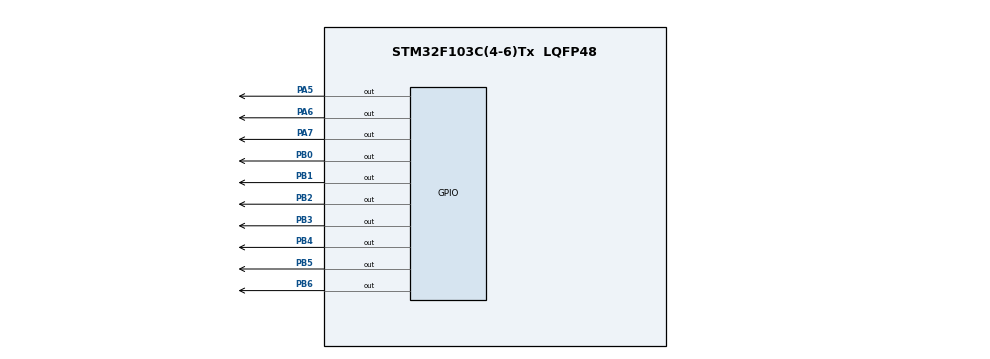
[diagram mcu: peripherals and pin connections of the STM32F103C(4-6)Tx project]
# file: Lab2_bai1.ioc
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Mcu.Family=STM32F1
Mcu.Name=STM32F103C(4-6)Tx
Mcu.Package=LQFP48
NVIC.PriorityGroup=NVIC_PRIORITYGROUP_4
NVIC.TIM2_IRQn=true\:0\:0\:false\:false\:true\:true\:true
PA13.Mode=Serial_Wire
PA13.Signal=SYS_JTMS-SWDIO
PA14.Mode=Serial_Wire
PA14.Signal=SYS_JTCK-SWCLK
PA5.Signal=GPIO_Output
PA6.Signal=GPIO_Output
PA7.Signal=GPIO_Output
PB0.Signal=GPIO_Output
PB1.Signal=GPIO_Output
PB2.Signal=GPIO_Output
PB3.Signal=GPIO_Output
PB4.Signal=GPIO_Output
PB5.Signal=GPIO_Output
PB6.Signal=GPIO_Output
PD0-OSC_IN.Mode=HSE-External-Oscillator
PD0-OSC_IN.Signal=RCC_OSC_IN
PD1-OSC_OUT.Mode=HSE-External-Oscillator
PD1-OSC_OUT.Signal=RCC_OSC_OUT
ProjectManager.HeapSize=0x200
ProjectManager.StackSize=0x400
ProjectManager.TargetToolchain=STM32CubeIDE
RCC.AHBFreq_Value=8000000
RCC.APB1Freq_Value=8000000
RCC.APB1TimFreq_Value=8000000
RCC.APB2Freq_Value=8000000
RCC.APB2TimFreq_Value=8000000
RCC.HCLKFreq_Value=8000000
RCC.SYSCLKSource=RCC_SYSCLKSOURCE_HSE
TIM2.Period=499
TIM2.Prescaler=7999
VP_TIM2_VS_ClockSourceINT.Mode=Internal
board=custom

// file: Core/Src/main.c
/* USER CODE BEGIN Header */
/**
  ******************************************************************************
  * @file           : main.c
  * @brief          : Main program body
  ******************************************************************************
  * @attention
  *
  * <h2><center>&copy; Copyright (c) 2021 STMicroelectronics.
  * All rights reserved.</center></h2>
  *
  * This software component is licensed by ST under BSD 3-Clause license,
  * the "License"; You may not use this file except in compliance with the
  * License. You may obtain a copy of the License at:
  *                        opensource.org/licenses/BSD-3-Clause
  *
  ******************************************************************************
  */
/* USER CODE END Header */
#include "main.h"

TIM_HandleTypeDef htim2;

void SystemClock_Config(void);
static void MX_GPIO_Init(void);
static void MX_TIM2_Init(void);

/* USER CODE BEGIN 0 */
uint8_t number = 0;

uint8_t segmentNumber[10] = {
        0xC0,  // 0
        0xF9,  // 1
        0xA4,  // 2
        0xB0,  // 3
        0x99,  // 4
        0x92,  // 5
        0x82,  // 6
        0xF8,  // 7
        0x80,  // 8
        0x90   // 9
};

void SevenSegment_Update(uint8_t number){
	HAL_GPIO_WritePin(GPIOB, GPIO_PIN_0, ((number>>0)&0x01));
	HAL_GPIO_WritePin(GPIOB, GPIO_PIN_1, ((number>>1)&0x01));
	HAL_GPIO_WritePin(GPIOB, GPIO_PIN_2, ((number>>2)&0x01));
	HAL_GPIO_WritePin(GPIOB, GPIO_PIN_3, ((number>>3)&0x01));
	HAL_GPIO_WritePin(GPIOB, GPIO_PIN_4, ((number>>4)&0x01));
	HAL_GPIO_WritePin(GPIOB, GPIO_PIN_5, ((number>>5)&0x01));
	HAL_GPIO_WritePin(GPIOB, GPIO_PIN_6, ((number>>6)&0x01));
}
/* USER CODE END 0 */

int main(void)
{

  /* MCU Configuration--------------------------------------------------------*/

  /* Reset of all peripherals, Initializes the Flash interface and the Systick. */
  HAL_Init();

  /* Configure the system clock */
  SystemClock_Config();

  /* Initialize all configured peripherals */
  MX_GPIO_Init();
  MX_TIM2_Init();
  /* USER CODE BEGIN 2 */
  HAL_TIM_Base_Start_IT(&htim2);
  /* USER CODE END 2 */

  /* Infinite loop */
  while (1)
  {

  }
}

void SystemClock_Config(void)
{
  RCC_OscInitTypeDef RCC_OscInitStruct = {0};
  RCC_ClkInitTypeDef RCC_ClkInitStruct = {0};

  /** Initializes the RCC Oscillators according to the specified parameters
  * in the RCC_OscInitTypeDef structure.
  */
  RCC_OscInitStruct.OscillatorType = RCC_OSCILLATORTYPE_HSE;
  RCC_OscInitStruct.HSEState = RCC_HSE_ON;
  RCC_OscInitStruct.PLL.PLLState = RCC_PLL_NONE;
  if (HAL_RCC_OscConfig(&RCC_OscInitStruct) != HAL_OK)
  {
    Error_Handler();
  }
  /** Initializes the CPU, AHB and APB buses clocks
  */
  RCC_ClkInitStruct.ClockType = RCC_CLOCKTYPE_HCLK|RCC_CLOCKTYPE_SYSCLK
                              |RCC_CLOCKTYPE_PCLK1|RCC_CLOCKTYPE_PCLK2;
  RCC_ClkInitStruct.SYSCLKSource = RCC_SYSCLKSOURCE_HSE;
  RCC_ClkInitStruct.AHBCLKDivider = RCC_SYSCLK_DIV1;
  RCC_ClkInitStruct.APB1CLKDivider = RCC_HCLK_DIV1;
  RCC_ClkInitStruct.APB2CLKDivider = RCC_HCLK_DIV1;

  if (HAL_RCC_ClockConfig(&RCC_ClkInitStruct, FLASH_LATENCY_0) != HAL_OK)
  {
    Error_Handler();
  }
}

static void MX_TIM2_Init(void)
{

  TIM_ClockConfigTypeDef sClockSourceConfig = {0};
  TIM_MasterConfigTypeDef sMasterConfig = {0};

  htim2.Instance = TIM2;
  htim2.Init.Prescaler = 7999;
  htim2.Init.CounterMode = TIM_COUNTERMODE_UP;
  htim2.Init.Period = 499;
  htim2.Init.ClockDivision = TIM_CLOCKDIVISION_DIV1;
  htim2.Init.AutoReloadPreload = TIM_AUTORELOAD_PRELOAD_DISABLE;
  if (HAL_TIM_Base_Init(&htim2) != HAL_OK)
  {
    Error_Handler();
  }
  sClockSourceConfig.ClockSource = TIM_CLOCKSOURCE_INTERNAL;
  if (HAL_TIM_ConfigClockSource(&htim2, &sClockSourceConfig) != HAL_OK)
  {
    Error_Handler();
  }
  sMasterConfig.MasterOutputTrigger = TIM_TRGO_RESET;
  sMasterConfig.MasterSlaveMode = TIM_MASTERSLAVEMODE_DISABLE;
  if (HAL_TIMEx_MasterConfigSynchronization(&htim2, &sMasterConfig) != HAL_OK)
  {
    Error_Handler();
  }

}

static void MX_GPIO_Init(void)
{
  GPIO_InitTypeDef GPIO_InitStruct = {0};

  /* GPIO Ports Clock Enable */
  __HAL_RCC_GPIOD_CLK_ENABLE();
  __HAL_RCC_GPIOA_CLK_ENABLE();
  __HAL_RCC_GPIOB_CLK_ENABLE();

  /*Configure GPIO pin Output Level */
  HAL_GPIO_WritePin(GPIOA, GPIO_PIN_5|GPIO_PIN_6|GPIO_PIN_7, GPIO_PIN_RESET);

  /*Configure GPIO pin Output Level */
  HAL_GPIO_WritePin(GPIOB, GPIO_PIN_0|GPIO_PIN_1|GPIO_PIN_2|GPIO_PIN_3
                          |GPIO_PIN_4|GPIO_PIN_5|GPIO_PIN_6, GPIO_PIN_RESET);

  /*Configure GPIO pins : PA5 PA6 PA7 */
  GPIO_InitStruct.Pin = GPIO_PIN_5|GPIO_PIN_6|GPIO_PIN_7;
  GPIO_InitStruct.Mode = GPIO_MODE_OUTPUT_PP;
  GPIO_InitStruct.Pull = GPIO_NOPULL;
  GPIO_InitStruct.Speed = GPIO_SPEED_FREQ_LOW;
  HAL_GPIO_Init(GPIOA, &GPIO_InitStruct);

  /*Configure GPIO pins : PB0 PB1 PB2 PB3
                           PB4 PB5 PB6 */
  GPIO_InitStruct.Pin = GPIO_PIN_0|GPIO_PIN_1|GPIO_PIN_2|GPIO_PIN_3
                          |GPIO_PIN_4|GPIO_PIN_5|GPIO_PIN_6;
  GPIO_InitStruct.Mode = GPIO_MODE_OUTPUT_PP;
  GPIO_InitStruct.Pull = GPIO_NOPULL;
  GPIO_InitStruct.Speed = GPIO_SPEED_FREQ_LOW;
  HAL_GPIO_Init(GPIOB, &GPIO_InitStruct);

}

/* USER CODE BEGIN 4 */

// timer
uint8_t State = 0;
void HAL_TIM_PeriodElapsedCallback ( TIM_HandleTypeDef * htim ){
	if(htim->Instance== TIM2){
		switch(State){
		case 0:
			HAL_GPIO_WritePin(GPIOA, GPIO_PIN_5, GPIO_PIN_RESET);
			HAL_GPIO_WritePin(GPIOA, GPIO_PIN_6, GPIO_PIN_RESET);
			HAL_GPIO_WritePin(GPIOA, GPIO_PIN_7, GPIO_PIN_SET);
			SevenSegment_Update(segmentNumber[1]);
			State = 1;
			break;
		case 1:
			HAL_GPIO_WritePin(GPIOA, GPIO_PIN_5, GPIO_PIN_SET);
			HAL_GPIO_WritePin(GPIOA, GPIO_PIN_7, GPIO_PIN_RESET);
			HAL_GPIO_WritePin(GPIOA, GPIO_PIN_6, GPIO_PIN_SET);
			SevenSegment_Update(segmentNumber[2]);
			State = 0;
			break;
		}
	}
}

/* USER CODE END 4 */

void Error_Handler(void)
{
  __disable_irq();
  while (1)
  {
  }
}

/************************ (C) COPYRIGHT STMicroelectronics *****END OF FILE****/
